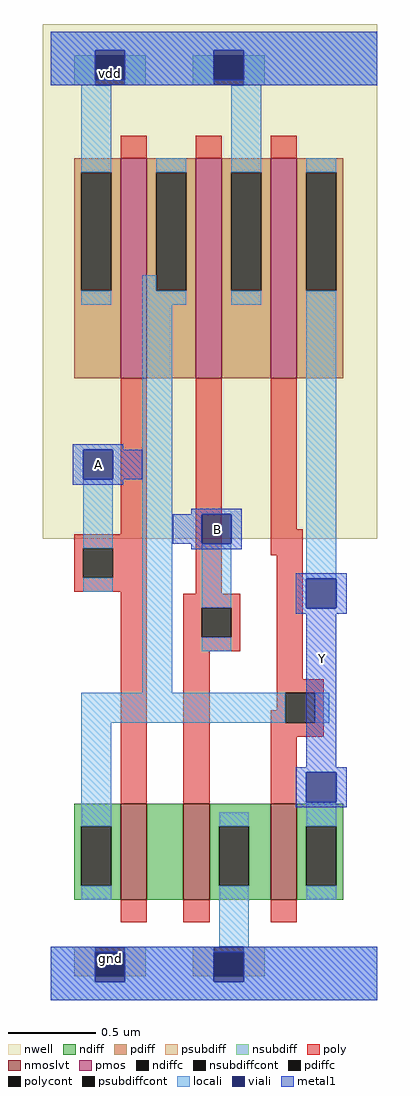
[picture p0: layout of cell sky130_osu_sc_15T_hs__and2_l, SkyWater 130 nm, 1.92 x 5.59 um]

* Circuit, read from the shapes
.subckt sky130_osu_sc_15T_hs__and2_l Y A B
XM1 n1 A n2 gnd sky130_fd_pr__nfet_01v8_lvt w=0.55 l=0.15
XM2 gnd B n1 gnd sky130_fd_pr__nfet_01v8_lvt w=0.55 l=0.15
XM3 Y n2 gnd gnd sky130_fd_pr__nfet_01v8_lvt w=0.55 l=0.15
XM4 n2 A vdd vdd sky130_fd_pr__pfet_01v8 w=1.26 l=0.15
XM5 vdd B n2 vdd sky130_fd_pr__pfet_01v8 w=1.26 l=0.15
XM6 Y n2 vdd vdd sky130_fd_pr__pfet_01v8 w=1.26 l=0.15
.ends

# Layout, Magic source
magic
tech sky130A
magscale 1 2
<< nwell >>
rect -9 529 374 1119
<< nmoslvt >>
rect 80 115 110 225
rect 152 115 182 225
rect 252 115 282 225
<< pmos >>
rect 80 713 110 965
rect 166 713 196 965
rect 252 713 282 965
<< ndiff >>
rect 27 199 80 225
rect 27 131 35 199
rect 69 131 80 199
rect 27 115 80 131
rect 110 115 152 225
rect 182 199 252 225
rect 182 131 193 199
rect 227 131 252 199
rect 182 115 252 131
rect 282 199 335 225
rect 282 131 293 199
rect 327 131 335 199
rect 282 115 335 131
<< pdiff >>
rect 27 949 80 965
rect 27 813 35 949
rect 69 813 80 949
rect 27 713 80 813
rect 110 949 166 965
rect 110 813 121 949
rect 155 813 166 949
rect 110 713 166 813
rect 196 949 252 965
rect 196 813 207 949
rect 241 813 252 949
rect 196 713 252 813
rect 282 949 335 965
rect 282 813 293 949
rect 327 813 335 949
rect 282 713 335 813
<< ndiffc >>
rect 35 131 69 199
rect 193 131 227 199
rect 293 131 327 199
<< pdiffc >>
rect 35 813 69 949
rect 121 813 155 949
rect 207 813 241 949
rect 293 813 327 949
<< psubdiff >>
rect 27 27 51 61
rect 85 27 109 61
rect 163 27 187 61
rect 221 27 245 61
<< nsubdiff >>
rect 27 1049 51 1083
rect 85 1049 109 1083
rect 163 1049 187 1083
rect 221 1049 245 1083
<< psubdiffcont >>
rect 51 27 85 61
rect 187 27 221 61
<< nsubdiffcont >>
rect 51 1049 85 1083
rect 187 1049 221 1083
<< poly >>
rect 80 965 110 991
rect 166 965 196 991
rect 252 965 282 991
rect 80 534 110 713
rect 27 518 110 534
rect 27 484 37 518
rect 71 484 110 518
rect 27 468 110 484
rect 80 225 110 468
rect 166 466 196 713
rect 252 540 282 713
rect 252 510 289 540
rect 152 450 217 466
rect 152 416 173 450
rect 207 416 217 450
rect 152 400 217 416
rect 152 225 182 400
rect 259 368 289 510
rect 259 352 313 368
rect 259 332 269 352
rect 252 318 269 332
rect 303 318 313 352
rect 252 302 313 318
rect 252 225 282 302
rect 80 89 110 115
rect 152 89 182 115
rect 252 89 282 115
<< polycont >>
rect 37 484 71 518
rect 173 416 207 450
rect 269 318 303 352
<< locali >>
rect 0 1089 374 1110
rect 0 1049 51 1089
rect 85 1049 187 1089
rect 221 1049 374 1089
rect 35 949 69 1049
rect 121 949 155 965
rect 35 797 69 813
rect 105 813 121 831
rect 105 797 155 813
rect 207 949 241 1049
rect 207 797 241 813
rect 293 949 327 965
rect 37 518 71 597
rect 37 468 71 484
rect 105 352 139 797
rect 173 450 207 523
rect 293 483 327 813
rect 173 400 207 416
rect 35 318 269 352
rect 303 318 319 352
rect 35 199 69 318
rect 35 115 69 131
rect 193 199 227 215
rect 193 61 227 131
rect 293 199 327 227
rect 293 115 327 131
rect 0 21 51 61
rect 85 21 187 61
rect 221 21 374 61
rect 0 0 374 21
<< viali >>
rect 51 1083 85 1089
rect 51 1055 85 1083
rect 187 1083 221 1089
rect 187 1055 221 1083
rect 37 597 71 631
rect 173 523 207 557
rect 293 449 327 483
rect 293 227 327 261
rect 51 27 85 55
rect 51 21 85 27
rect 187 27 221 55
rect 187 21 221 27
<< metal1 >>
rect 0 1089 374 1110
rect 0 1055 51 1089
rect 85 1055 187 1089
rect 221 1055 374 1089
rect 0 1049 374 1055
rect 25 631 83 637
rect 25 597 37 631
rect 71 597 105 631
rect 25 591 83 597
rect 161 557 219 563
rect 140 523 173 557
rect 207 523 219 557
rect 161 517 219 523
rect 281 483 339 489
rect 281 449 293 483
rect 327 449 339 483
rect 281 443 339 449
rect 293 267 327 443
rect 281 261 339 267
rect 281 227 293 261
rect 327 227 339 261
rect 281 221 339 227
rect 0 55 374 61
rect 0 21 51 55
rect 85 21 187 55
rect 221 21 374 55
rect 0 0 374 21
<< labels >>
rlabel metal1 311 392 311 392 1 Y
port 1 n
rlabel viali 55 614 55 614 1 A
port 2 n
rlabel viali 191 540 191 540 1 B
port 3 n
rlabel viali 68 48 68 48 1 gnd
rlabel viali 68 1062 68 1062 1 vdd
<< end >>
